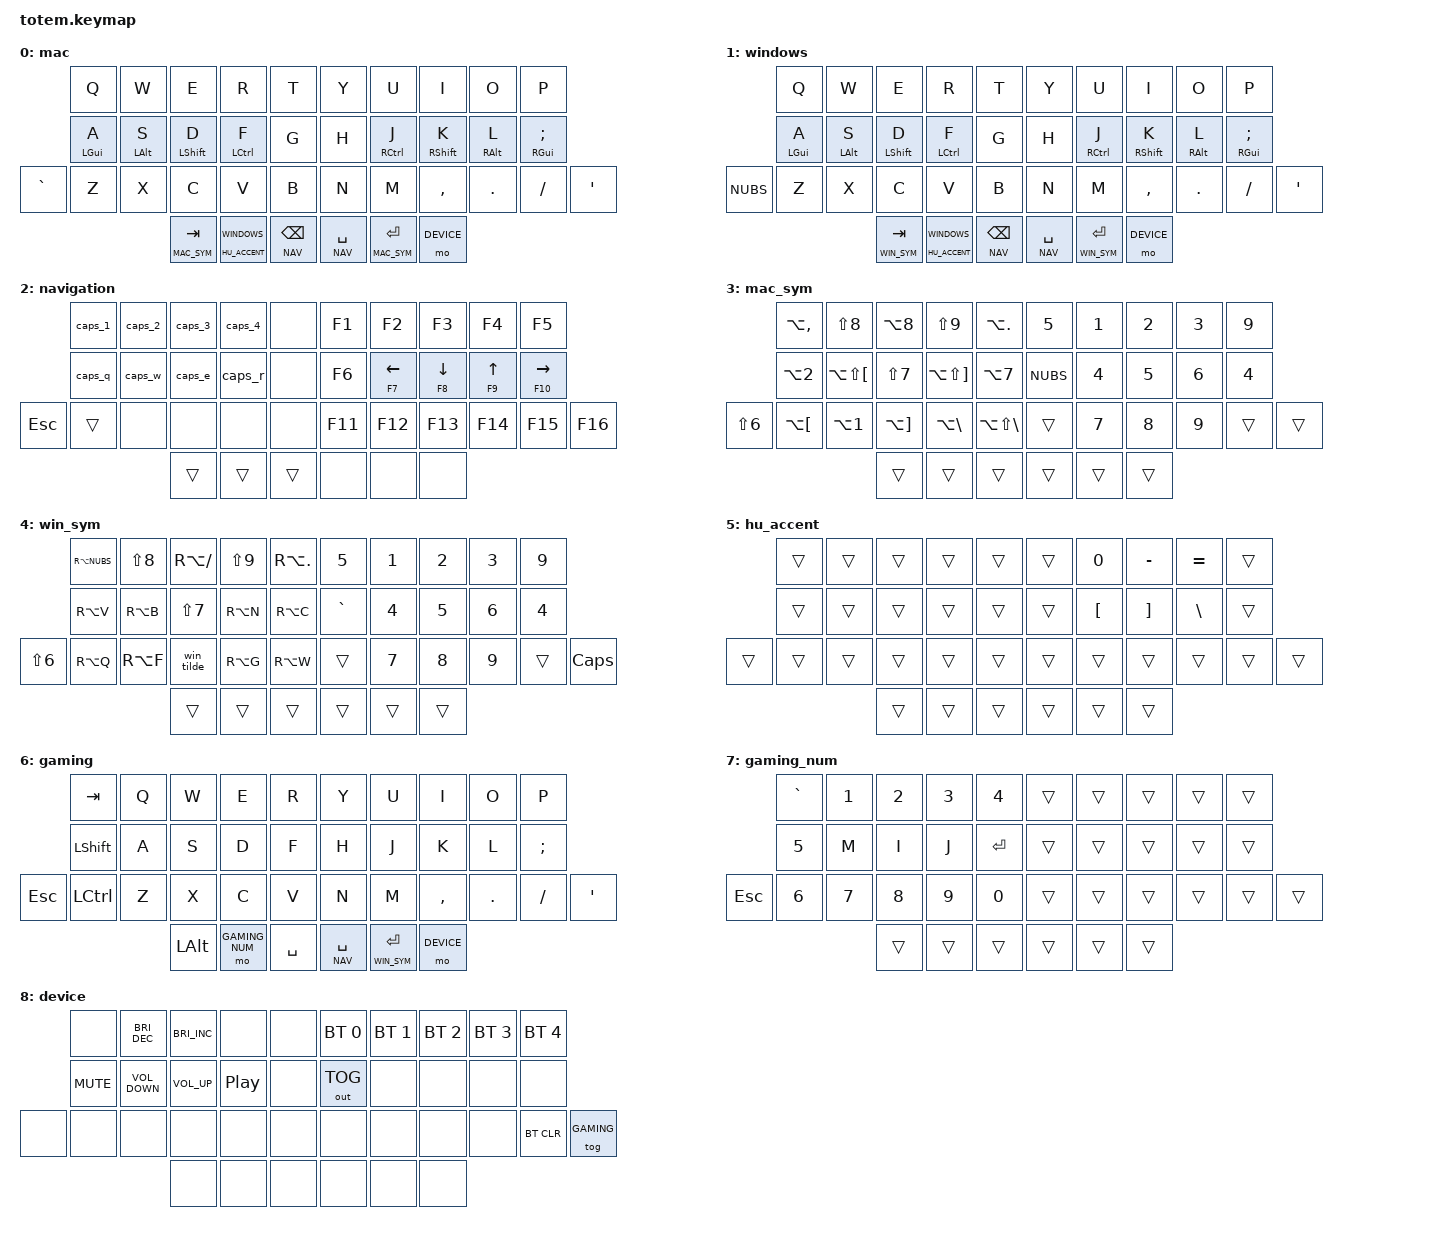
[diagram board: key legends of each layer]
//
//                                                        ▀▀▀▀▀     ▀▀▀▀▀          ▀▀█▀▀
//                                                        ▄▀▀▀▄  ▄  ▄▀▀▀▄  ▄  ▄▀▀▀▄  █  ▄▀▀▀▄
//                                                        █   █  █  █   █  █  █   █  █  █   █
//                                                         ▀▀▀   █   ▀▀▀   █   ▀▀▀   ▀   ▀▀▀
//                                                               █      ▄▄▄█▄▄▄    █   █  
//                                                               ▀      █  █  █     █▄█
//                                                             ▀▀▀▀▀    █  █  █      ▀
//                                                                      ▀  ▀  ▀
//

#include <behaviors.dtsi>
#include <dt-bindings/zmk/bt.h>
#include <dt-bindings/zmk/keys.h>
#include <dt-bindings/zmk/outputs.h>

#define MAC        0
#define WINDOWS    1
#define NAV        2
#define MAC_SYM    3
#define WIN_SYM    4
#define HU_ACCENT  5
#define GAMING     6
#define GAMING_NUM 7
#define DEVICE     8

/ {
    behaviors {
        mt: mod_tap {
            compatible = "zmk,behavior-hold-tap";
            #binding-cells = <2>;
            flavor = "balanced";
            tapping-term-ms = <250>;
            quick-tap-ms = <175>;
            require-prior-idle-ms = <150>;
            bindings = <&kp>, <&kp>;
        };

        lt: layer_tap {
            compatible = "zmk,behavior-hold-tap";
            #binding-cells = <2>;
            flavor = "balanced";
            tapping-term-ms = <250>;
            quick-tap-ms = <175>;
            require-prior-idle-ms = <150>;
            bindings = <&mo>, <&kp>;
        };

        // Keep navigation holds available after typing or repeated backspaces.
        nav_bspc: navigation_backspace {
            compatible = "zmk,behavior-hold-tap";
            #binding-cells = <2>;
            flavor = "hold-preferred";
            tapping-term-ms = <250>;
            quick-tap-ms = <0>;
            require-prior-idle-ms = <0>;
            bindings = <&mo>, <&kp>;
        };

        os_acc: os_accent_layer_tap {
            compatible = "zmk,behavior-hold-tap";
            #binding-cells = <2>;
            flavor = "hold-preferred";
            tapping-term-ms = <250>;
            bindings = <&mo>, <&tog>;
        };
    };

    macros {
        caps_1: caps_1 {
            compatible = "zmk,behavior-macro";
            #binding-cells = <0>;
            wait-ms = <40>;
            tap-ms = <40>;
            bindings =
                <&macro_press>,
                <&kp CAPSLOCK>,
                <&macro_tap>,
                <&kp NUMBER_1>,
                <&macro_release>,
                <&kp CAPSLOCK>;
        };

        caps_2: caps_2 {
            compatible = "zmk,behavior-macro";
            #binding-cells = <0>;
            wait-ms = <40>;
            tap-ms = <40>;
            bindings =
                <&macro_press>,
                <&kp CAPSLOCK>,
                <&macro_tap>,
                <&kp NUMBER_2>,
                <&macro_release>,
                <&kp CAPSLOCK>;
        };

        caps_3: caps_3 {
            compatible = "zmk,behavior-macro";
            #binding-cells = <0>;
            wait-ms = <40>;
            tap-ms = <40>;
            bindings =
                <&macro_press>,
                <&kp CAPSLOCK>,
                <&macro_tap>,
                <&kp NUMBER_3>,
                <&macro_release>,
                <&kp CAPSLOCK>;
        };

        caps_4: caps_4 {
            compatible = "zmk,behavior-macro";
            #binding-cells = <0>;
            wait-ms = <40>;
            tap-ms = <40>;
            bindings =
                <&macro_press>,
                <&kp CAPSLOCK>,
                <&macro_tap>,
                <&kp NUMBER_4>,
                <&macro_release>,
                <&kp CAPSLOCK>;
        };

        caps_q: caps_q {
            compatible = "zmk,behavior-macro";
            #binding-cells = <0>;
            wait-ms = <40>;
            tap-ms = <40>;
            bindings =
                <&macro_press>,
                <&kp CAPSLOCK>,
                <&macro_tap>,
                <&kp Q>,
                <&macro_release>,
                <&kp CAPSLOCK>;
        };

        caps_w: caps_w {
            compatible = "zmk,behavior-macro";
            #binding-cells = <0>;
            wait-ms = <40>;
            tap-ms = <40>;
            bindings =
                <&macro_press>,
                <&kp CAPSLOCK>,
                <&macro_tap>,
                <&kp W>,
                <&macro_release>,
                <&kp CAPSLOCK>;
        };

        caps_e: caps_e {
            compatible = "zmk,behavior-macro";
            #binding-cells = <0>;
            wait-ms = <40>;
            tap-ms = <40>;
            bindings =
                <&macro_press>,
                <&kp CAPSLOCK>,
                <&macro_tap>,
                <&kp E>,
                <&macro_release>,
                <&kp CAPSLOCK>;
        };

        caps_r: caps_r {
            compatible = "zmk,behavior-macro";
            #binding-cells = <0>;
            wait-ms = <40>;
            tap-ms = <40>;
            bindings =
                <&macro_press>,
                <&kp CAPSLOCK>,
                <&macro_tap>,
                <&kp R>,
                <&macro_release>,
                <&kp CAPSLOCK>;
        };

        win_tilde: win_tilde {
            compatible = "zmk,behavior-macro";
            #binding-cells = <0>;
            bindings = <&macro_tap>, <&kp RA(N1) &kp SPACE>;
        };
    };

    keymap {
        compatible = "zmk,keymap";

        mac {
            bindings = <
           &kp Q           &kp W           &kp E            &kp R                      &kp T           &kp Y          &kp U              &kp I        &kp O            &kp P
           &mt LEFT_GUI A  &mt LEFT_ALT S  &mt LSHIFT D     &mt LCTRL F                &kp G           &kp H          &mt RCTRL J        &mt RSHFT K  &mt RIGHT_ALT L  &mt RIGHT_GUI SEMICOLON
&kp GRAVE  &kp Z           &kp X           &kp C            &kp V                      &kp B           &kp N          &kp M              &kp COMMA    &kp DOT          &kp FSLH                 &kp APOS
                                           &lt MAC_SYM TAB  &os_acc HU_ACCENT WINDOWS  &nav_bspc NAV BSPC    &lt NAV SPACE  &lt MAC_SYM ENTER  &mo DEVICE
            >;
        };

        windows {
            bindings = <
          &kp Q           &kp W           &kp E            &kp R                      &kp T           &kp Y          &kp U              &kp I        &kp O            &kp P
          &mt LEFT_GUI A  &mt LEFT_ALT S  &mt LSHIFT D     &mt LCTRL F                &kp G           &kp H          &mt RCTRL J        &mt RSHFT K  &mt RIGHT_ALT L  &mt RIGHT_GUI SEMICOLON
&kp NUBS  &kp Z           &kp X           &kp C            &kp V                      &kp B           &kp N          &kp M              &kp COMMA    &kp DOT          &kp FSLH                 &kp APOS
                                          &lt WIN_SYM TAB  &os_acc HU_ACCENT WINDOWS  &nav_bspc NAV BSPC    &lt NAV SPACE  &lt WIN_SYM ENTER  &mo DEVICE
            >;
        };

        navigation {
            bindings = <
            &caps_1  &caps_2  &caps_3  &caps_4  &none     &kp F1   &kp F2       &kp F3       &kp F4     &kp F5
            &caps_q  &caps_w  &caps_e  &caps_r  &none     &kp F6   &mt F7 LEFT  &mt F8 DOWN  &mt F9 UP  &mt F10 RIGHT
&kp ESCAPE  &trans   &none    &none    &none    &none     &kp F11  &kp F12      &kp F13      &kp F14    &kp F15        &kp F16
                              &trans   &trans   &trans    &none    &none        &none
            >;
        };

        mac_sym {
            bindings = <
            &kp LA(COMMA)  &kp LS(N8)        &kp LA(N8)    &kp LS(N9)        &kp LA(DOT)         &kp N5    &kp NUMBER_1  &kp NUMBER_2  &kp NUMBER_3  &kp N9
            &kp LA(N2)     &kp LA(LS(LBKT))  &kp LS(N7)    &kp LA(LS(RBKT))  &kp LA(N7)          &kp NUBS  &kp NUMBER_4  &kp NUMBER_5  &kp NUMBER_6  &kp N4
&kp LS(N6)  &kp LA(LBKT)   &kp LA(N1)        &kp LA(RBKT)  &kp LA(BSLH)      &kp LA(LS(BSLH))    &trans    &kp NUMBER_7  &kp NUMBER_8  &kp NUMBER_9  &trans  &trans
                                             &trans        &trans            &trans              &trans    &trans        &trans
            >;
        };

        win_sym {
            bindings = <
            &kp RA(NUBS)  &kp LS(N8)  &kp RA(FSLH)  &kp LS(N9)  &kp RA(DOT)    &kp N5     &kp NUMBER_1  &kp NUMBER_2  &kp NUMBER_3  &kp N9
            &kp RA(V)     &kp RA(B)   &kp LS(N7)    &kp RA(N)   &kp RA(C)      &kp GRAVE  &kp NUMBER_4  &kp NUMBER_5  &kp NUMBER_6  &kp N4
&kp LS(N6)  &kp RA(Q)     &kp RA(F)   &win_tilde    &kp RA(G)   &kp RA(W)      &trans     &kp NUMBER_7  &kp NUMBER_8  &kp NUMBER_9  &trans  &kp CAPSLOCK
                                      &trans        &trans      &trans         &trans     &trans        &trans
            >;
        };

        hu_accent {
            bindings = <
        &trans  &trans  &trans  &trans  &trans    &trans  &kp NUMBER_0  &kp MINUS  &kp EQUAL  &trans
        &trans  &trans  &trans  &trans  &trans    &trans  &kp LBKT      &kp RBKT   &kp BSLH   &trans
&trans  &trans  &trans  &trans  &trans  &trans    &trans  &trans        &trans     &trans     &trans  &trans
                        &trans  &trans  &trans    &trans  &trans        &trans
            >;
        };

        gaming {
            bindings = <
            &kp TAB    &kp Q  &kp W     &kp E           &kp R        &kp Y          &kp U              &kp I       &kp O    &kp P
            &kp LSHFT  &kp A  &kp S     &kp D           &kp F        &kp H          &kp J              &kp K       &kp L    &kp SEMICOLON
&kp ESCAPE  &kp LCTRL  &kp Z  &kp X     &kp C           &kp V        &kp N          &kp M              &kp COMMA   &kp DOT  &kp FSLH       &kp APOS
                              &kp LALT  &mo GAMING_NUM  &kp SPACE    &lt NAV SPACE  &lt WIN_SYM ENTER  &mo DEVICE
            >;
        };

        gaming_num {
            bindings = <
            &kp GRAVE  &kp NUMBER_1  &kp NUMBER_2  &kp NUMBER_3  &kp NUMBER_4    &trans  &trans  &trans  &trans  &trans
            &kp N5     &kp M         &kp I         &kp J         &kp ENTER       &trans  &trans  &trans  &trans  &trans
&kp ESCAPE  &kp N6     &kp N7        &kp N8        &kp N9        &kp N0          &trans  &trans  &trans  &trans  &trans  &trans
                                     &trans        &trans        &trans          &trans  &trans  &trans
            >;
        };

        device {
            bindings = <
       &none       &kp C_BRIGHTNESS_DEC  &kp C_BRIGHTNESS_INC  &none             &none    &bt BT_SEL 0  &bt BT_SEL 1  &bt BT_SEL 2  &bt BT_SEL 3  &bt BT_SEL 4
       &kp K_MUTE  &kp C_VOLUME_DOWN     &kp C_VOLUME_UP       &kp C_PLAY_PAUSE  &none    &out OUT_TOG  &none         &none         &none         &none
&none  &none       &none                 &none                 &none             &none    &none         &none         &none         &none         &bt BT_CLR    &tog GAMING
                                         &none                 &none             &none    &none         &none         &none
            >;
        };
    };

    conditional_layers {
        compatible = "zmk,conditional-layers";

        device_mac {
            if-layers = <NAV MAC_SYM>;
            then-layer = <DEVICE>;
        };

        device_win {
            if-layers = <NAV WIN_SYM>;
            then-layer = <DEVICE>;
        };
    };
};
